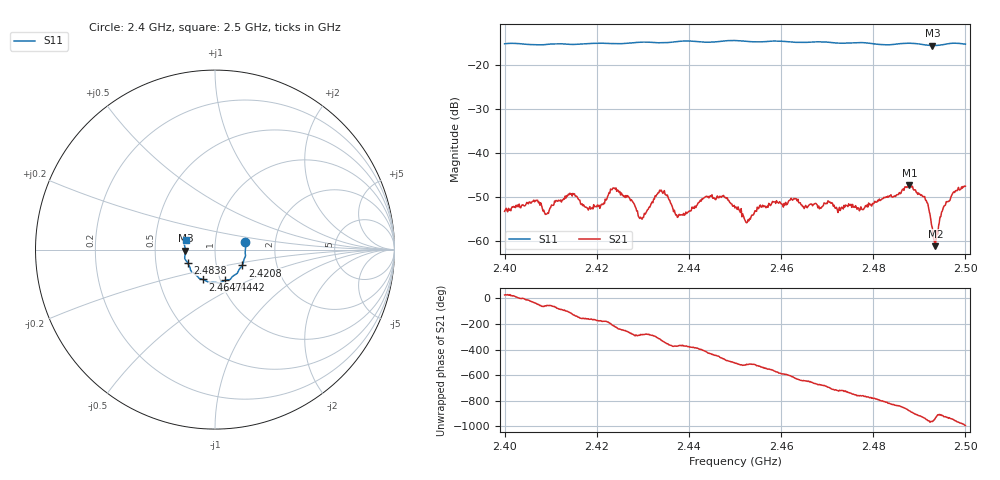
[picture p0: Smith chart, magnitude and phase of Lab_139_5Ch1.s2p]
# Hz S RI R 50
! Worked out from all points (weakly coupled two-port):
!   601 points, 2.4 GHz to 2.5 GHz, reference 50 ohm
!   highest |S21| = -47.35 dB at 2.4878 GHz (marker M1); lowest = -61.2 dB at 2.4935 GHz (marker M2)
!   lowest |S11| = -15.6 dB at 2.4928 GHz (marker M3), VSWR 1.40, Z = 35.8 - j0.414 ohm
!   |S11| at or under -10 dB: start of sweep to end of sweep
!   S12 and S22 are empty: the file has one direction only
!   S11 on the Smith chart (normalised r, x): 2.4 GHz: 1.40, +0.12; 2.4208 GHz: 1.33, -0.24; 2.4442 GHz: 1.05, -0.37; 2.4647 GHz: 0.83, -0.29; 2.4838 GHz: 0.73, -0.11; 2.5 GHz: 0.71, +0.08
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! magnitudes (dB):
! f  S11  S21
! 2.4 GHz  -15.2  -53.3
! 2.4147 GHz  -15.4  -49.8
! 2.4167 GHz  -15.3  -51.8
! 2.4208 GHz  -15.1  -52.1
! 2.424 GHz  -15.2  -48.2
! 2.4297 GHz  -14.9  -54.9
! 2.4333 GHz  -15.0  -49.1
! 2.4377 GHz  -14.7  -54.5
! 2.4442 GHz  -14.9  -49.9
! 2.45 GHz  -14.5  -52.6
! 2.4527 GHz  -14.7  -55.8
! 2.4585 GHz  -14.6  -51.2
! 2.4647 GHz  -14.9  -52.2
! 2.4667 GHz  -14.8  -51.7
! 2.4833 GHz  -15.5  -50.1
! 2.4838 GHz  -15.4  -49.5
! 2.4878 GHz  -15.1  -47.3
! 2.4913 GHz  -15.5  -50.8
! 2.4928 GHz  -15.6  -57.1
! 2.4935 GHz  -15.6  -61.2
! 2.4955 GHz  -15.3  -52.0
! 2.5 GHz  -15.3  -47.6
